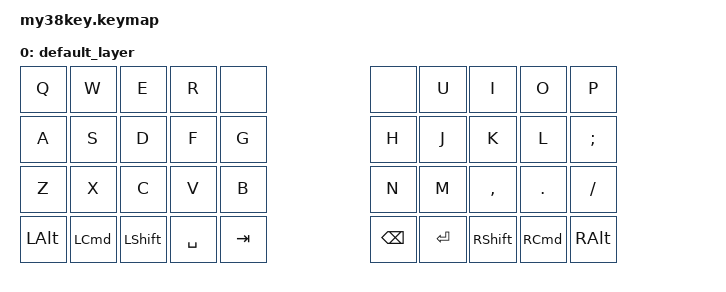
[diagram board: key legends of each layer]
#include <behaviors.dtsi>
#include <dt-bindings/zmk/keys.h>
#include <dt-bindings/zmk/bt.h>

/ {
    keymap {
        compatible = "zmk,keymap";

        default_layer {
            bindings = <
    // 【左手側】 (19キー)                             // 【右手側】 (19キー)
    &kp Q  &kp W  &kp E  &kp R  &none               &none  &kp U  &kp I  &kp O  &kp P
    &kp A  &kp S  &kp D  &kp F  &kp G               &kp H  &kp J  &kp K  &kp L  &kp SCLN
    &kp Z  &kp X  &kp C  &kp V  &kp B               &kp N  &kp M  &kp CMMA &kp DOT &kp FSLH
    &kp LALT &kp LCMD &kp LSHIFT &kp SPC &kp TAB    &kp BSPC &kp RET &kp RSHIFT &kp RCMD &kp RALT
            >;
        };
    };
};;
